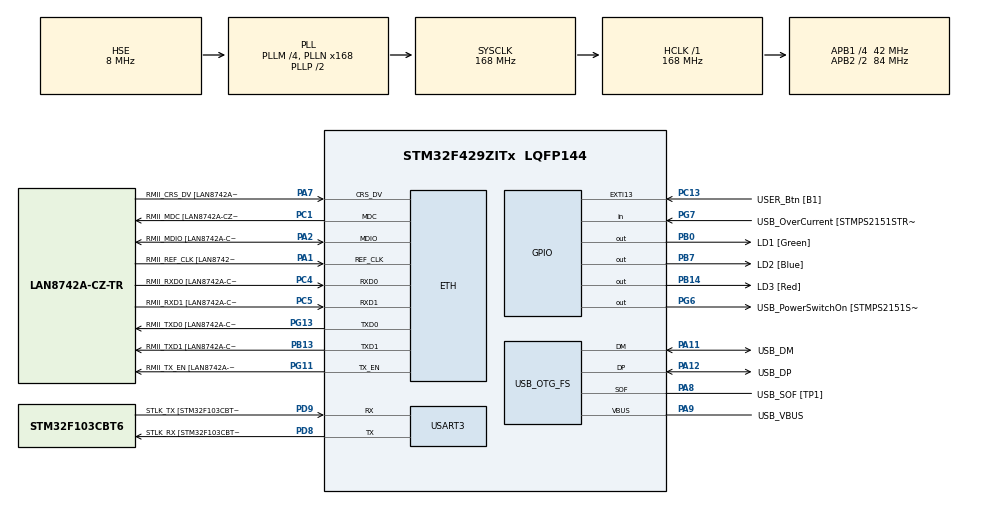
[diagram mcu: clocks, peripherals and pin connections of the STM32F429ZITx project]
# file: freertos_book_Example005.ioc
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ETH.MediaInterface=HAL_ETH_RMII_MODE
ETH.PHY_Name=LAN8742A_PHY_ADDRESS
ETH.PHY_Value=0
ETH.PhyAddress=0
FREERTOS.INCLUDE_vTaskDelayUntil=1
FREERTOS.MEMORY_ALLOCATION=0
FREERTOS.Tasks01=defaultTask,0,128,StartDefaultTask,Default,NULL,Dynamic,NULL,NULL
FREERTOS.configTICK_RATE_HZ=1000
FREERTOS.configUSE_NEWLIB_REENTRANT=1
Mcu.Family=STM32F4
Mcu.Name=STM32F429ZITx
Mcu.Package=LQFP144
NVIC.PriorityGroup=NVIC_PRIORITYGROUP_4
NVIC.TIM7_IRQn=true\:15\:0\:false\:false\:true\:false\:false\:true\:true
NVIC.TimeBase=TIM7_IRQn
NVIC.TimeBaseIP=TIM7
PA1.GPIO_Label=RMII_REF_CLK [LAN8742A-CZ-TR_REFCLK0]
PA1.Mode=RMII
PA1.Signal=ETH_REF_CLK
PA10.GPIO_Label=USB_ID
PA10.Signal=USB_OTG_FS_ID
PA11.GPIO_Label=USB_DM
PA11.Mode=Device_Only
PA11.Signal=USB_OTG_FS_DM
PA12.GPIO_Label=USB_DP
PA12.Mode=Device_Only
PA12.Signal=USB_OTG_FS_DP
PA13.GPIO_Label=TMS
PA13.Mode=Serial_Wire
PA13.Signal=SYS_JTMS-SWDIO
PA14.GPIO_Label=TCK
PA14.Mode=Serial_Wire
PA14.Signal=SYS_JTCK-SWCLK
PA2.GPIO_Label=RMII_MDIO [LAN8742A-CZ-TR_MDIO]
PA2.Mode=RMII
PA2.Signal=ETH_MDIO
PA7.GPIO_Label=RMII_CRS_DV [LAN8742A-CZ-TR_CRS_DV]
PA7.Mode=RMII
PA7.Signal=ETH_CRS_DV
PA8.GPIO_Label=USB_SOF [TP1]
PA8.Mode=Activate_SOF_FS
PA8.Signal=USB_OTG_FS_SOF
PA9.GPIO_Label=USB_VBUS
PA9.Mode=Activate_VBUS
PA9.Signal=USB_OTG_FS_VBUS
PB0.GPIO_Label=LD1 [Green]
PB0.Signal=GPIO_Output
PB13.GPIO_Label=RMII_TXD1 [LAN8742A-CZ-TR_TXD1]
PB13.Mode=RMII
PB13.Signal=ETH_TXD1
PB14.GPIO_Label=LD3 [Red]
PB14.Signal=GPIO_Output
PB7.GPIO_Label=LD2 [Blue]
PB7.Signal=GPIO_Output
PC1.GPIO_Label=RMII_MDC [LAN8742A-CZ-TR_MDC]
PC1.Mode=RMII
PC1.Signal=ETH_MDC
PC13.GPIO_Label=USER_Btn [B1]
PC13.Signal=GPXTI13
PC14/OSC32_IN.Mode=LSE-External-Oscillator
PC14/OSC32_IN.Signal=RCC_OSC32_IN
PC15/OSC32_OUT.Mode=LSE-External-Oscillator
PC15/OSC32_OUT.Signal=RCC_OSC32_OUT
PC4.GPIO_Label=RMII_RXD0 [LAN8742A-CZ-TR_RXD0]
PC4.Mode=RMII
PC4.Signal=ETH_RXD0
PC5.GPIO_Label=RMII_RXD1 [LAN8742A-CZ-TR_RXD1]
PC5.Mode=RMII
PC5.Signal=ETH_RXD1
PD8.GPIO_Label=STLK_RX [STM32F103CBT6_PA3]
PD8.Mode=Asynchronous
PD8.Signal=USART3_TX
PD9.GPIO_Label=STLK_TX [STM32F103CBT6_PA2]
PD9.Mode=Asynchronous
PD9.Signal=USART3_RX
PG11.GPIO_Label=RMII_TX_EN [LAN8742A-CZ-TR_TXEN]
PG11.Mode=RMII
PG11.Signal=ETH_TX_EN
PG13.GPIO_Label=RMII_TXD0 [LAN8742A-CZ-TR_TXD0]
PG13.Mode=RMII
PG13.Signal=ETH_TXD0
PG6.GPIO_Label=USB_PowerSwitchOn [STMPS2151STR_EN]
PG6.Signal=GPIO_Output
PG7.GPIO_Label=USB_OverCurrent [STMPS2151STR_FAULT]
PG7.Signal=GPIO_Input
PH0/OSC_IN.GPIO_Label=MCO [STM32F103CBT6_PA8]
PH0/OSC_IN.Mode=HSE-External-Clock-Source
PH0/OSC_IN.Signal=RCC_OSC_IN
PH1/OSC_OUT.Mode=HSE-External-Clock-Source
PH1/OSC_OUT.Signal=RCC_OSC_OUT
ProjectManager.HeapSize=0x200
ProjectManager.StackSize=0x400
ProjectManager.TargetToolchain=STM32CubeIDE
RCC.48MHZClocksFreq_Value=48000000
RCC.AHBFreq_Value=168000000
RCC.APB1CLKDivider=RCC_HCLK_DIV4
RCC.APB1Freq_Value=42000000
RCC.APB1TimFreq_Value=84000000
RCC.APB2CLKDivider=RCC_HCLK_DIV2
RCC.APB2Freq_Value=84000000
RCC.APB2TimCLKDivider=2
RCC.APB2TimFreq_Value=168000000
RCC.CortexFreq_Value=168000000
RCC.HCLKFreq_Value=168000000
RCC.HSE_VALUE=8000000
RCC.HSI_VALUE=16000000
RCC.PLLM=4
RCC.PLLMUL=RCC_PLL_MUL9
RCC.PLLN=168
RCC.PLLQ=7
RCC.PRESCALERUSB=RCC_USBCLKSOURCE_PLL_DIV1_5
RCC.SYSCLKFreq_VALUE=168000000
RCC.SYSCLKSource=RCC_SYSCLKSOURCE_PLLCLK
RCC.SYSCLKSourceVirtual=RCC_SYSCLKSOURCE_PLLCLK
RCC.USBFreq_Value=48000000
RCC.VCOOutputFreq_Value=336000000
USART3.VirtualMode=VM_ASYNC
USB_OTG_FS.VirtualMode=Device_Only
VP_FREERTOS_VS_CMSIS_V1.Mode=CMSIS_V1
VP_SYS_VS_tim7.Mode=TIM7
board=NUCLEO-F429ZI

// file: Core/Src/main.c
/* USER CODE BEGIN Header */
/**
  ******************************************************************************
  * @file           : main.c
  * @brief          : Main program body
  ******************************************************************************
  * @attention
  *
  * Copyright (c) 2022 STMicroelectronics.
  * All rights reserved.
  *
  * This software is licensed under terms that can be found in the LICENSE file
  * in the root directory of this software component.
  * If no LICENSE file comes with this software, it is provided AS-IS.
  *
  ******************************************************************************
  */
/* USER CODE END Header */
#include "main.h"
#include "string.h"
#include "cmsis_os.h"

/* USER CODE BEGIN Includes */
/* Standard includes. */
#include <stdio.h>
#include <stdlib.h>

/* Demo includes. */
#include "supportingFunctions.h"

/* USER CODE END Includes */

/* USER CODE BEGIN PM */
/* Define the strings that will be passed in as the task parameters.  These are
defined const and off the stack to ensure they remain valid when the tasks are
executing. */
const char *pcTextForTask1 = "Task 1 is running\r\n";
const char *pcTextForTask2 = "Task 2 is running\r\n";

/* USER CODE END PM */

ETH_TxPacketConfig TxConfig;
ETH_DMADescTypeDef  DMARxDscrTab[ETH_RX_DESC_CNT]; /* Ethernet Rx DMA Descriptors */
ETH_DMADescTypeDef  DMATxDscrTab[ETH_TX_DESC_CNT]; /* Ethernet Tx DMA Descriptors */

ETH_HandleTypeDef heth;

UART_HandleTypeDef huart3;

PCD_HandleTypeDef hpcd_USB_OTG_FS;

osThreadId defaultTaskHandle;

void SystemClock_Config(void);
static void MX_GPIO_Init(void);
static void MX_ETH_Init(void);
static void MX_USART3_UART_Init(void);
static void MX_USB_OTG_FS_PCD_Init(void);
void StartDefaultTask(void const * argument);

/* USER CODE BEGIN PFP */
void vTaskFunction( void *pvParameters );

/* USER CODE END PFP */

int main(void)
{
  /* USER CODE BEGIN 1 */
	const char *pcTextForMain = "freertos_book_Example005 is running: Converting the example tasks to use ...DelayUntil()\r\n\n";

  /* USER CODE END 1 */

  /* MCU Configuration--------------------------------------------------------*/

  /* Reset of all peripherals, Initializes the Flash interface and the Systick. */
  HAL_Init();

  /* Configure the system clock */
  SystemClock_Config();

  /* Initialize all configured peripherals */
  MX_GPIO_Init();
  MX_ETH_Init();
  MX_USART3_UART_Init();
  MX_USB_OTG_FS_PCD_Init();
  /* USER CODE BEGIN 2 */
	/* Print out the name of this Example. */
	vPrintString( pcTextForMain );

  /* USER CODE END 2 */

  /* Create the thread(s) */
  /* definition and creation of defaultTask */
  osThreadDef(defaultTask, StartDefaultTask, osPriorityNormal, 0, 128);
  defaultTaskHandle = osThreadCreate(osThread(defaultTask), NULL);

  /* USER CODE BEGIN RTOS_THREADS */
  /* add threads, ... */
	BaseType_t ret;

  /* Task 1 thread at priority 1 */
	ret = xTaskCreate( vTaskFunction,				/* Pointer to the function thats implement the task. */
					   "Task 1",					/* Text name for the task. This is to facilitate debugging only. */
					   (2 * configMINIMAL_STACK_SIZE),	/* Stack depth in words. 				*/
	                   (void*)pcTextForTask1,    	/* Pass the text to be printed in as the task parameter. */
					   (tskIDLE_PRIORITY + 1UL),	/* This task will run at priority 1. 		*/
		               NULL );                   	/* We are not using the task handle. */

	/* Check the task was created successfully. */
	configASSERT( ret == pdPASS );

	/* Task 2 thread at priority 2 */
	ret = xTaskCreate( vTaskFunction,				/* Pointer to the function thats implement the task. */
		  	  	  	   "Task 2",					/* Text name for the task. This is to facilitate debugging only. */
					   (2 * configMINIMAL_STACK_SIZE),	/* Stack depth in words. 				*/
	                   (void*)pcTextForTask2,    	/* Pass the text to be printed in as the task parameter. */
					   (tskIDLE_PRIORITY + 2UL),	/* This task will run at priority 2. 		*/
		               NULL );                   	/* We are not using the task handle. */

	/* Check the task was created successfully. */
	configASSERT( ret == pdPASS );

  /* USER CODE END RTOS_THREADS */

  /* Start scheduler */
  osKernelStart();

  /* We should never get here as control is now taken by the scheduler */
  /* Infinite loop */
  while (1)
  {

  }
}

void SystemClock_Config(void)
{
  RCC_OscInitTypeDef RCC_OscInitStruct = {0};
  RCC_ClkInitTypeDef RCC_ClkInitStruct = {0};

  /** Configure the main internal regulator output voltage
  */
  __HAL_RCC_PWR_CLK_ENABLE();
  __HAL_PWR_VOLTAGESCALING_CONFIG(PWR_REGULATOR_VOLTAGE_SCALE1);

  /** Initializes the RCC Oscillators according to the specified parameters
  * in the RCC_OscInitTypeDef structure.
  */
  RCC_OscInitStruct.OscillatorType = RCC_OSCILLATORTYPE_HSE;
  RCC_OscInitStruct.HSEState = RCC_HSE_BYPASS;
  RCC_OscInitStruct.PLL.PLLState = RCC_PLL_ON;
  RCC_OscInitStruct.PLL.PLLSource = RCC_PLLSOURCE_HSE;
  RCC_OscInitStruct.PLL.PLLM = 4;
  RCC_OscInitStruct.PLL.PLLN = 168;
  RCC_OscInitStruct.PLL.PLLP = RCC_PLLP_DIV2;
  RCC_OscInitStruct.PLL.PLLQ = 7;
  if (HAL_RCC_OscConfig(&RCC_OscInitStruct) != HAL_OK)
  {
    Error_Handler();
  }

  /** Initializes the CPU, AHB and APB buses clocks
  */
  RCC_ClkInitStruct.ClockType = RCC_CLOCKTYPE_HCLK|RCC_CLOCKTYPE_SYSCLK
                              |RCC_CLOCKTYPE_PCLK1|RCC_CLOCKTYPE_PCLK2;
  RCC_ClkInitStruct.SYSCLKSource = RCC_SYSCLKSOURCE_PLLCLK;
  RCC_ClkInitStruct.AHBCLKDivider = RCC_SYSCLK_DIV1;
  RCC_ClkInitStruct.APB1CLKDivider = RCC_HCLK_DIV4;
  RCC_ClkInitStruct.APB2CLKDivider = RCC_HCLK_DIV2;

  if (HAL_RCC_ClockConfig(&RCC_ClkInitStruct, FLASH_LATENCY_5) != HAL_OK)
  {
    Error_Handler();
  }
}

static void MX_ETH_Init(void)
{

   static uint8_t MACAddr[6];

  heth.Instance = ETH;
  MACAddr[0] = 0x00;
  MACAddr[1] = 0x80;
  MACAddr[2] = 0xE1;
  MACAddr[3] = 0x00;
  MACAddr[4] = 0x00;
  MACAddr[5] = 0x00;
  heth.Init.MACAddr = &MACAddr[0];
  heth.Init.MediaInterface = HAL_ETH_RMII_MODE;
  heth.Init.TxDesc = DMATxDscrTab;
  heth.Init.RxDesc = DMARxDscrTab;
  heth.Init.RxBuffLen = 1524;

  if (HAL_ETH_Init(&heth) != HAL_OK)
  {
    Error_Handler();
  }

  memset(&TxConfig, 0 , sizeof(ETH_TxPacketConfig));
  TxConfig.Attributes = ETH_TX_PACKETS_FEATURES_CSUM | ETH_TX_PACKETS_FEATURES_CRCPAD;
  TxConfig.ChecksumCtrl = ETH_CHECKSUM_IPHDR_PAYLOAD_INSERT_PHDR_CALC;
  TxConfig.CRCPadCtrl = ETH_CRC_PAD_INSERT;

}

static void MX_USART3_UART_Init(void)
{

  huart3.Instance = USART3;
  huart3.Init.BaudRate = 115200;
  huart3.Init.WordLength = UART_WORDLENGTH_8B;
  huart3.Init.StopBits = UART_STOPBITS_1;
  huart3.Init.Parity = UART_PARITY_NONE;
  huart3.Init.Mode = UART_MODE_TX_RX;
  huart3.Init.HwFlowCtl = UART_HWCONTROL_NONE;
  huart3.Init.OverSampling = UART_OVERSAMPLING_16;
  if (HAL_UART_Init(&huart3) != HAL_OK)
  {
    Error_Handler();
  }

}

static void MX_USB_OTG_FS_PCD_Init(void)
{

  hpcd_USB_OTG_FS.Instance = USB_OTG_FS;
  hpcd_USB_OTG_FS.Init.dev_endpoints = 4;
  hpcd_USB_OTG_FS.Init.speed = PCD_SPEED_FULL;
  hpcd_USB_OTG_FS.Init.dma_enable = DISABLE;
  hpcd_USB_OTG_FS.Init.phy_itface = PCD_PHY_EMBEDDED;
  hpcd_USB_OTG_FS.Init.Sof_enable = ENABLE;
  hpcd_USB_OTG_FS.Init.low_power_enable = DISABLE;
  hpcd_USB_OTG_FS.Init.lpm_enable = DISABLE;
  hpcd_USB_OTG_FS.Init.vbus_sensing_enable = ENABLE;
  hpcd_USB_OTG_FS.Init.use_dedicated_ep1 = DISABLE;
  if (HAL_PCD_Init(&hpcd_USB_OTG_FS) != HAL_OK)
  {
    Error_Handler();
  }

}

static void MX_GPIO_Init(void)
{
  GPIO_InitTypeDef GPIO_InitStruct = {0};

  /* GPIO Ports Clock Enable */
  __HAL_RCC_GPIOC_CLK_ENABLE();
  __HAL_RCC_GPIOH_CLK_ENABLE();
  __HAL_RCC_GPIOA_CLK_ENABLE();
  __HAL_RCC_GPIOB_CLK_ENABLE();
  __HAL_RCC_GPIOD_CLK_ENABLE();
  __HAL_RCC_GPIOG_CLK_ENABLE();

  /*Configure GPIO pin Output Level */
  HAL_GPIO_WritePin(GPIOB, LD1_Pin|LD3_Pin|LD2_Pin, GPIO_PIN_RESET);

  /*Configure GPIO pin Output Level */
  HAL_GPIO_WritePin(USB_PowerSwitchOn_GPIO_Port, USB_PowerSwitchOn_Pin, GPIO_PIN_RESET);

  /*Configure GPIO pin : USER_Btn_Pin */
  GPIO_InitStruct.Pin = USER_Btn_Pin;
  GPIO_InitStruct.Mode = GPIO_MODE_IT_RISING;
  GPIO_InitStruct.Pull = GPIO_NOPULL;
  HAL_GPIO_Init(USER_Btn_GPIO_Port, &GPIO_InitStruct);

  /*Configure GPIO pins : LD1_Pin LD3_Pin LD2_Pin */
  GPIO_InitStruct.Pin = LD1_Pin|LD3_Pin|LD2_Pin;
  GPIO_InitStruct.Mode = GPIO_MODE_OUTPUT_PP;
  GPIO_InitStruct.Pull = GPIO_NOPULL;
  GPIO_InitStruct.Speed = GPIO_SPEED_FREQ_LOW;
  HAL_GPIO_Init(GPIOB, &GPIO_InitStruct);

  /*Configure GPIO pin : USB_PowerSwitchOn_Pin */
  GPIO_InitStruct.Pin = USB_PowerSwitchOn_Pin;
  GPIO_InitStruct.Mode = GPIO_MODE_OUTPUT_PP;
  GPIO_InitStruct.Pull = GPIO_NOPULL;
  GPIO_InitStruct.Speed = GPIO_SPEED_FREQ_LOW;
  HAL_GPIO_Init(USB_PowerSwitchOn_GPIO_Port, &GPIO_InitStruct);

  /*Configure GPIO pin : USB_OverCurrent_Pin */
  GPIO_InitStruct.Pin = USB_OverCurrent_Pin;
  GPIO_InitStruct.Mode = GPIO_MODE_INPUT;
  GPIO_InitStruct.Pull = GPIO_NOPULL;
  HAL_GPIO_Init(USB_OverCurrent_GPIO_Port, &GPIO_InitStruct);

}

/* USER CODE BEGIN 4 */

/* USER CODE BEGIN Header_vTaskFunction */
/**
  * @brief  Function implementing the Task1 thread.
  * @param  argument: Not used
  * @retval None
  */
/* USER CODE END Header_vTaskFunction */
void vTaskFunction(void * pvParameters)
{
	char *pcTaskName;
	TickType_t xLastWakeTime;
	const TickType_t xDelay250ms = pdMS_TO_TICKS( 500UL );

	/* The string to print out is passed in via the parameter.  Cast this to a
	character pointer. */
	pcTaskName = ( char * ) pvParameters;

	/* The xLastWakeTime variable needs to be initialized with the current tick
	count.  Note that this is the only time we access this variable.  From this
	point on xLastWakeTime is managed automatically by the vTaskDelayUntil()
	API function. */
	xLastWakeTime = xTaskGetTickCount();

	/* As per most tasks, this task is implemented in an infinite loop. */
	for( ;; )
	{
		/* Print out the name of this task. */
		vPrintString( pcTaskName );

	    /* We want this task to execute exactly every 250 milliseconds.  As per
	    the vTaskDelay() function, time is measured in ticks, and the
	    pdMS_TO_TICKS() macro is used to convert this to milliseconds.
	    xLastWakeTime is automatically updated within vTaskDelayUntil() so does not
	    have to be updated by this task code. */
	    vTaskDelayUntil( &xLastWakeTime, xDelay250ms );
	}
}

/* USER CODE END 4 */

void StartDefaultTask(void const * argument)
{
  /* USER CODE BEGIN 5 */
  /* Infinite loop */
  for(;;)
  {
    osDelay(50000);
  }
  /* USER CODE END 5 */
}

void HAL_TIM_PeriodElapsedCallback(TIM_HandleTypeDef *htim)
{
  if (htim->Instance == TIM7) {
    HAL_IncTick();
  }
}

void Error_Handler(void)
{
  __disable_irq();
  while (1)
  {
  }
}
